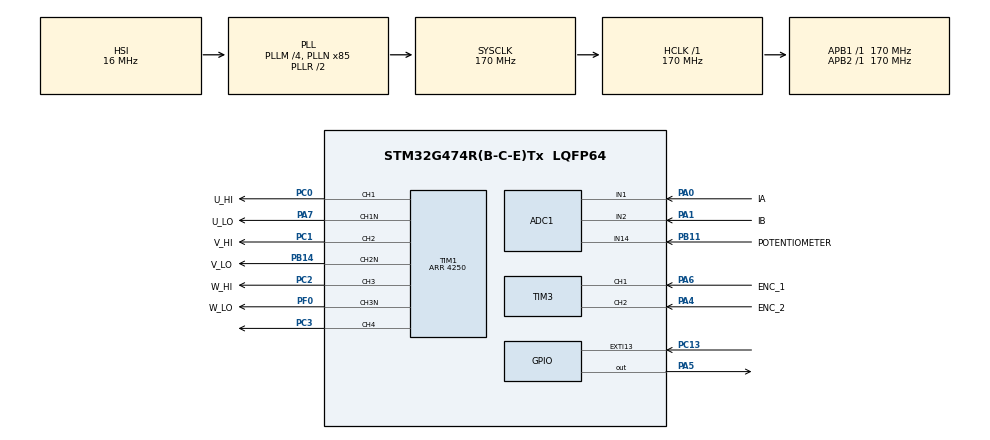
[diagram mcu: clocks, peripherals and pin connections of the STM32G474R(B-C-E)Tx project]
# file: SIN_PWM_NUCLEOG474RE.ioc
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ADC1.Channel-0\#ChannelRegularConversion=ADC_CHANNEL_1
ADC1.Channel-1\#ChannelRegularConversion=ADC_CHANNEL_2
ADC1.Channel-2\#ChannelRegularConversion=ADC_CHANNEL_14
ADC1.ContinuousConvMode=DISABLE
ADC1.DMAContinuousRequests=ENABLE
ADC1.EOCSelection=ADC_EOC_SEQ_CONV
ADC1.ExternalTrigConv=ADC_EXTERNALTRIG_T1_TRGO
ADC1.NbrOfConversion=3
ADC1.NbrOfConversionFlag=1
ADC1.OffsetNumber-0\#ChannelRegularConversion=ADC_OFFSET_NONE
ADC1.OffsetNumber-1\#ChannelRegularConversion=ADC_OFFSET_NONE
ADC1.OffsetNumber-2\#ChannelRegularConversion=ADC_OFFSET_NONE
ADC1.Rank-0\#ChannelRegularConversion=1
ADC1.Rank-1\#ChannelRegularConversion=2
ADC1.Rank-2\#ChannelRegularConversion=3
ADC1.SamplingTime-0\#ChannelRegularConversion=ADC_SAMPLETIME_47CYCLES_5
ADC1.SamplingTime-1\#ChannelRegularConversion=ADC_SAMPLETIME_47CYCLES_5
ADC1.SamplingTime-2\#ChannelRegularConversion=ADC_SAMPLETIME_247CYCLES_5
ADC1.master=1
Dma.ADC1.0.Direction=DMA_PERIPH_TO_MEMORY
Dma.ADC1.0.EventEnable=DISABLE
Dma.ADC1.0.Instance=DMA1_Channel1
Dma.ADC1.0.MemDataAlignment=DMA_MDATAALIGN_HALFWORD
Dma.ADC1.0.MemInc=DMA_MINC_ENABLE
Dma.ADC1.0.Mode=DMA_CIRCULAR
Dma.ADC1.0.PeriphDataAlignment=DMA_PDATAALIGN_HALFWORD
Dma.ADC1.0.PeriphInc=DMA_PINC_DISABLE
Dma.ADC1.0.Polarity=HAL_DMAMUX_REQ_GEN_RISING
Dma.ADC1.0.Priority=DMA_PRIORITY_LOW
Dma.ADC1.0.RequestNumber=1
Dma.ADC1.0.SignalID=NONE
Dma.ADC1.0.SyncEnable=DISABLE
Dma.ADC1.0.SyncPolarity=HAL_DMAMUX_SYNC_NO_EVENT
Dma.ADC1.0.SyncRequestNumber=1
Dma.ADC1.0.SyncSignalID=NONE
Dma.Request0=ADC1
FREERTOS.BinarySemaphores01=FOCsem,Dynamic,NULL,Available
FREERTOS.Tasks01=ReadPotent,24,128,StartPotent,Default,NULL,Dynamic,NULL,NULL;FOC,40,400,StartFOC,Default,NULL,Dynamic,NULL,NULL
FREERTOS.configUSE_NEWLIB_REENTRANT=1
Mcu.Family=STM32G4
Mcu.Name=STM32G474R(B-C-E)Tx
Mcu.Package=LQFP64
NUCLEO-G474RE.BUTTON=1
NUCLEO-G474RE.LD2=true
NUCLEO-G474RE.VCP=true
NVIC.ADC1_2_IRQn=true\:5\:0\:false\:false\:true\:true\:true\:true\:true
NVIC.DMA1_Channel1_IRQn=true\:5\:0\:false\:false\:true\:true\:false\:true\:true
NVIC.EXTI15_10_IRQn=true\:5\:0\:false\:false\:true\:true\:true\:true\:true
NVIC.PriorityGroup=NVIC_PRIORITYGROUP_4
NVIC.TIM1_UP_TIM16_IRQn=true\:5\:0\:false\:false\:true\:true\:true\:true\:true
NVIC.TIM2_IRQn=true\:15\:0\:false\:false\:true\:false\:false\:true\:true
NVIC.TimeBase=TIM2_IRQn
NVIC.TimeBaseIP=TIM2
PA0.GPIO_Label=IA
PA0.Signal=SharedAnalog_PA0
PA1.GPIO_Label=IB
PA1.Signal=SharedAnalog_PA1
PA13.GPIO_Label=T_SWDIO
PA13.Signal=SYS_JTMS-SWDIO
PA14.GPIO_Label=T_SWCLK
PA14.Signal=SYS_JTCK-SWCLK
PA2.Signal=LPUART1_TX
PA3.Signal=LPUART1_RX
PA4.GPIO_Label=ENC_2
PA4.Signal=S_TIM3_CH2
PA5.Signal=GPIO_Output
PA6.GPIO_Label=ENC_1
PA6.Signal=S_TIM3_CH1
PA7.GPIO_Label=U_LO
PA7.Mode=PWM Generation1 CH1 CH1N
PA7.Signal=TIM1_CH1N
PB11.GPIO_Label=POTENTIOMETER
PB11.Signal=SharedAnalog_PB11
PB14.GPIO_Label=V_LO
PB14.Mode=PWM Generation2 CH2 CH2N
PB14.Signal=TIM1_CH2N
PB3.GPIO_Label=T_SWO
PB3.Signal=SYS_JTDO-SWO
PC0.GPIO_Label=U_HI
PC0.Signal=S_TIM1_CH1
PC1.GPIO_Label=V_HI
PC1.Signal=S_TIM1_CH2
PC13.Signal=GPXTI13
PC2.GPIO_Label=W_HI
PC2.Signal=S_TIM1_CH3
PC3.Signal=S_TIM1_CH4
PF0-OSC_IN.GPIO_Label=W_LO
PF0-OSC_IN.Mode=PWM Generation3 CH3 CH3N
PF0-OSC_IN.Signal=TIM1_CH3N
ProjectManager.HeapSize=0x200
ProjectManager.StackSize=0x400
ProjectManager.TargetToolchain=STM32CubeIDE
RCC.ADC12Freq_Value=170000000
RCC.ADC345Freq_Value=170000000
RCC.AHBFreq_Value=170000000
RCC.APB1Freq_Value=170000000
RCC.APB1TimFreq_Value=170000000
RCC.APB2Freq_Value=170000000
RCC.APB2TimFreq_Value=170000000
RCC.CortexFreq_Value=170000000
RCC.EXTERNAL_CLOCK_VALUE=12288000
RCC.HCLKFreq_Value=170000000
RCC.HSE_VALUE=24000000
RCC.HSI48_VALUE=48000000
RCC.HSI_VALUE=16000000
RCC.LSE_VALUE=32768
RCC.PLLM=RCC_PLLM_DIV4
RCC.PLLN=85
RCC.RTCClockSelection=RCC_RTCCLKSOURCE_LSE
RCC.SYSCLKFreq_VALUE=170000000
RCC.SYSCLKSource=RCC_SYSCLKSOURCE_PLLCLK
RCC.USBFreq_Value=170000000
RCC.VCOOutputFreq_Value=340000000
SH.S_TIM1_CH1.0=TIM1_CH1,PWM Generation1 CH1 CH1N
SH.S_TIM1_CH2.0=TIM1_CH2,PWM Generation2 CH2 CH2N
SH.S_TIM1_CH3.0=TIM1_CH3,PWM Generation3 CH3 CH3N
SH.S_TIM1_CH4.0=TIM1_CH4,Output Compare4 CH4
SH.S_TIM3_CH1.0=TIM3_CH1,Encoder_Interface
SH.S_TIM3_CH2.0=TIM3_CH2,Encoder_Interface
SH.SharedAnalog_PA0.0=GPIO_Analog
SH.SharedAnalog_PA0.1=ADC1_IN1,IN1-Single-Ended
SH.SharedAnalog_PA1.0=GPIO_Analog
SH.SharedAnalog_PA1.1=ADC1_IN2,IN2-Single-Ended
SH.SharedAnalog_PB11.0=GPIO_Analog
SH.SharedAnalog_PB11.1=ADC1_IN14,IN14-Single-Ended
TIM1.AutoReloadPreload=TIM_AUTORELOAD_PRELOAD_ENABLE
TIM1.AutomaticOutput=TIM_AUTOMATICOUTPUT_ENABLE
TIM1.Channel-Output\ Compare4\ CH4=TIM_CHANNEL_4
TIM1.Channel-PWM\ Generation1\ CH1\ CH1N=TIM_CHANNEL_1
TIM1.Channel-PWM\ Generation2\ CH2\ CH2N=TIM_CHANNEL_2
TIM1.Channel-PWM\ Generation3\ CH3\ CH3N=TIM_CHANNEL_3
TIM1.CounterMode=TIM_COUNTERMODE_CENTERALIGNED1
TIM1.DeadTime=54
TIM1.OC4Preload=DISABLE
TIM1.PeriodNoDither=4250
TIM1.PulseNoDither_4=0
TIM1.TIM_MasterOutputTrigger=TIM_TRGO_UPDATE
TIM1.TIM_MasterOutputTrigger2=TIM_TRGO2_OC4REF
TIM1.TIM_MasterSlaveMode=TIM_MASTERSLAVEMODE_DISABLE
VP_FREERTOS_VS_CMSIS_V2.Mode=CMSIS_V2
VP_NUCLEO-G474RE_VS_BSP_COMMON.Mode=COMMON
VP_SYS_VS_DBSignals.Mode=DisableDeadBatterySignals
VP_SYS_VS_tim2.Mode=TIM2
board=NUCLEO-G474RE

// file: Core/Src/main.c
/* USER CODE BEGIN Header */
/**
  ******************************************************************************
  * @file           : main.c
  * @brief          : Main program body
  ******************************************************************************
  * @attention
  *
  * Copyright (c) 2025 STMicroelectronics.
  * All rights reserved.
  *
  * This software is licensed under terms that can be found in the LICENSE file
  * in the root directory of this software component.
  * If no LICENSE file comes with this software, it is provided AS-IS.
  *
  ******************************************************************************
  */
/* USER CODE END Header */
#include "main.h"
#include "cmsis_os.h"

/* USER CODE BEGIN Includes */
#include <math.h>
#include <arm_math.h>
#include "FOC_MATH.h"
#include "semphr.h"
#include "PI_CONTROLLER.h"
#include "ACIM.h"
/* USER CODE END Includes */

/* USER CODE BEGIN PD */
#define vbus 200.0f // test
#define PWM_PERIOD 4250
#define TEST_FREQ 30.0f
#define ADC_MAX     4095.0f
#define VREF        3.3f
#define SENSOR_SENSITIVITY 0.1f
#define DESIRED_RPM_MAX 1725.0f
#define ENC_PPR             1000
#define COUNTS_PER_REV      (ENC_PPR * 4)
#define MOTOR_POLE_PAIRS 2
/* USER CODE END PD */

COM_InitTypeDef BspCOMInit;
ADC_HandleTypeDef hadc1;
DMA_HandleTypeDef hdma_adc1;

TIM_HandleTypeDef htim1;
TIM_HandleTypeDef htim3;

/* Definitions for ReadPotent */
osThreadId_t ReadPotentHandle;
const osThreadAttr_t ReadPotent_attributes = {
  .name = "ReadPotent",
  .priority = (osPriority_t) osPriorityNormal,
  .stack_size = 128 * 4
};
/* Definitions for FOC */
osThreadId_t FOCHandle;
const osThreadAttr_t FOC_attributes = {
  .name = "FOC",
  .priority = (osPriority_t) osPriorityHigh,
  .stack_size = 400 * 4
};
/* Definitions for FOCsem */
osSemaphoreId_t FOCsemHandle;
const osSemaphoreAttr_t FOCsem_attributes = {
  .name = "FOCsem"
};
/* USER CODE BEGIN PV */

// sensor inputs
uint32_t adcValues[3];  // Holds ADC results for 3 channels
static uint32_t adc_local_copy[3] = {0};
float voltageA = 0.0f;
float voltageB = 0.0f;
float currentA = 0.0f;
float currentB = 0.0f;
volatile uint32_t potentiometerValue = 0;

// pi control variables
float Kp_Id = 0.1f;
float Ki_Id = 1.0f;
float Kp_Iq = 0.1f;
float Ki_Iq = 1.0f;
float Kp_Speed = 0.05f;
float Ki_Speed = 0.5f;

// FOC variables
volatile float ia = 0.0f, ib = 0.0f;
volatile float valpha = 0.0f, vbeta = 0.0f;
volatile uint32_t pwm_u = 0, pwm_v = 0, pwm_w = 0;
typedef enum { INIT, MOTOR_FOC } motor_state_t;
volatile  motor_state_t MOTOR_STATE = INIT;

// encoder values
volatile float desiredRPM = 0.0f;
float theta = 0.0f;
int encoder_ready = 0;
volatile int32_t last_count = 0;
volatile float mech_rps = 0.0f;
volatile float RotorAngle = 0.0f;
float mech_angle_Radian = 0.0f;
int32_t delta = 0;
int Rotor_direction = 0;
volatile int32_t curr_count = 0;

int test_task = 0;

ACIM_Params_t params = {
	.P = 2,
	.Lm = 0.413f,
	.Lr = 111.65f,
	.psi_r_ref = 0.8f
};
/* USER CODE END PV */

void SystemClock_Config(void);
static void MX_GPIO_Init(void);
static void MX_DMA_Init(void);
static void MX_TIM1_Init(void);
static void MX_ADC1_Init(void);
static void MX_TIM3_Init(void);
void StartPotent(void *argument);
void StartFOC(void *argument);

int main(void)
{

  /* MCU Configuration--------------------------------------------------------*/

  /* Reset of all peripherals, Initializes the Flash interface and the Systick. */
  HAL_Init();

  /* Configure the system clock */
  SystemClock_Config();

  /* Initialize all configured peripherals */
  MX_GPIO_Init();
  MX_DMA_Init();
  MX_TIM1_Init();
  MX_ADC1_Init();
  MX_TIM3_Init();
  /* USER CODE BEGIN 2 */
  pi_controller_init(Kp_Id, Ki_Id,Kp_Iq,Ki_Iq, Kp_Speed, Ki_Speed);
  ACIM_Init(&params);

  HAL_TIM_Base_Start_IT(&htim1);
  HAL_ADC_Start_DMA(&hadc1, (uint32_t*)adcValues, 3);

  HAL_TIM_PWM_Start(&htim1, TIM_CHANNEL_1);
  HAL_TIM_PWM_Start(&htim1, TIM_CHANNEL_2);
  HAL_TIM_PWM_Start(&htim1, TIM_CHANNEL_3);

  HAL_TIMEx_PWMN_Start(&htim1, TIM_CHANNEL_1);
  HAL_TIMEx_PWMN_Start(&htim1, TIM_CHANNEL_2);
  HAL_TIMEx_PWMN_Start(&htim1, TIM_CHANNEL_3);

  HAL_TIM_Encoder_Start(&htim3, TIM_CHANNEL_ALL);
  /* USER CODE END 2 */

  /* Init scheduler */
  osKernelInitialize();

  /* Create the semaphores(s) */
  /* creation of FOCsem */
  FOCsemHandle = osSemaphoreNew(1, 1, &FOCsem_attributes);

  /* Create the thread(s) */
  /* creation of ReadPotent */
  ReadPotentHandle = osThreadNew(StartPotent, NULL, &ReadPotent_attributes);

  /* creation of FOC */
  FOCHandle = osThreadNew(StartFOC, NULL, &FOC_attributes);

  /* Initialize led */
  BSP_LED_Init(LED_GREEN);

  /* Initialize USER push-button, will be used to trigger an interrupt each time it's pressed.*/
  BSP_PB_Init(BUTTON_USER, BUTTON_MODE_EXTI);

  /* Initialize COM1 port (115200, 8 bits (7-bit data + 1 stop bit), no parity */
  BspCOMInit.BaudRate   = 115200;
  BspCOMInit.WordLength = COM_WORDLENGTH_8B;
  BspCOMInit.StopBits   = COM_STOPBITS_1;
  BspCOMInit.Parity     = COM_PARITY_NONE;
  BspCOMInit.HwFlowCtl  = COM_HWCONTROL_NONE;
  if (BSP_COM_Init(COM1, &BspCOMInit) != BSP_ERROR_NONE)
  {
    Error_Handler();
  }

  /* Start scheduler */
  osKernelStart();

  /* We should never get here as control is now taken by the scheduler */

  /* Infinite loop */
  while (1)
  {

  }
}

void SystemClock_Config(void)
{
  RCC_OscInitTypeDef RCC_OscInitStruct = {0};
  RCC_ClkInitTypeDef RCC_ClkInitStruct = {0};

  /** Configure the main internal regulator output voltage
  */
  HAL_PWREx_ControlVoltageScaling(PWR_REGULATOR_VOLTAGE_SCALE1_BOOST);

  /** Initializes the RCC Oscillators according to the specified parameters
  * in the RCC_OscInitTypeDef structure.
  */
  RCC_OscInitStruct.OscillatorType = RCC_OSCILLATORTYPE_HSI;
  RCC_OscInitStruct.HSIState = RCC_HSI_ON;
  RCC_OscInitStruct.HSICalibrationValue = RCC_HSICALIBRATION_DEFAULT;
  RCC_OscInitStruct.PLL.PLLState = RCC_PLL_ON;
  RCC_OscInitStruct.PLL.PLLSource = RCC_PLLSOURCE_HSI;
  RCC_OscInitStruct.PLL.PLLM = RCC_PLLM_DIV4;
  RCC_OscInitStruct.PLL.PLLN = 85;
  RCC_OscInitStruct.PLL.PLLP = RCC_PLLP_DIV2;
  RCC_OscInitStruct.PLL.PLLQ = RCC_PLLQ_DIV2;
  RCC_OscInitStruct.PLL.PLLR = RCC_PLLR_DIV2;
  if (HAL_RCC_OscConfig(&RCC_OscInitStruct) != HAL_OK)
  {
    Error_Handler();
  }

  /** Initializes the CPU, AHB and APB buses clocks
  */
  RCC_ClkInitStruct.ClockType = RCC_CLOCKTYPE_HCLK|RCC_CLOCKTYPE_SYSCLK
                              |RCC_CLOCKTYPE_PCLK1|RCC_CLOCKTYPE_PCLK2;
  RCC_ClkInitStruct.SYSCLKSource = RCC_SYSCLKSOURCE_PLLCLK;
  RCC_ClkInitStruct.AHBCLKDivider = RCC_SYSCLK_DIV1;
  RCC_ClkInitStruct.APB1CLKDivider = RCC_HCLK_DIV1;
  RCC_ClkInitStruct.APB2CLKDivider = RCC_HCLK_DIV1;

  if (HAL_RCC_ClockConfig(&RCC_ClkInitStruct, FLASH_LATENCY_4) != HAL_OK)
  {
    Error_Handler();
  }
}

static void MX_ADC1_Init(void)
{

  ADC_MultiModeTypeDef multimode = {0};
  ADC_ChannelConfTypeDef sConfig = {0};

  /** Common config
  */
  hadc1.Instance = ADC1;
  hadc1.Init.ClockPrescaler = ADC_CLOCK_SYNC_PCLK_DIV4;
  hadc1.Init.Resolution = ADC_RESOLUTION_12B;
  hadc1.Init.DataAlign = ADC_DATAALIGN_RIGHT;
  hadc1.Init.GainCompensation = 0;
  hadc1.Init.ScanConvMode = ADC_SCAN_ENABLE;
  hadc1.Init.EOCSelection = ADC_EOC_SEQ_CONV;
  hadc1.Init.LowPowerAutoWait = DISABLE;
  hadc1.Init.ContinuousConvMode = DISABLE;
  hadc1.Init.NbrOfConversion = 3;
  hadc1.Init.DiscontinuousConvMode = DISABLE;
  hadc1.Init.ExternalTrigConv = ADC_EXTERNALTRIG_T1_TRGO;
  hadc1.Init.ExternalTrigConvEdge = ADC_EXTERNALTRIGCONVEDGE_RISING;
  hadc1.Init.DMAContinuousRequests = ENABLE;
  hadc1.Init.Overrun = ADC_OVR_DATA_PRESERVED;
  hadc1.Init.OversamplingMode = DISABLE;
  if (HAL_ADC_Init(&hadc1) != HAL_OK)
  {
    Error_Handler();
  }

  /** Configure the ADC multi-mode
  */
  multimode.Mode = ADC_MODE_INDEPENDENT;
  if (HAL_ADCEx_MultiModeConfigChannel(&hadc1, &multimode) != HAL_OK)
  {
    Error_Handler();
  }

  /** Configure Regular Channel
  */
  sConfig.Channel = ADC_CHANNEL_1;
  sConfig.Rank = ADC_REGULAR_RANK_1;
  sConfig.SamplingTime = ADC_SAMPLETIME_47CYCLES_5;
  sConfig.SingleDiff = ADC_SINGLE_ENDED;
  sConfig.OffsetNumber = ADC_OFFSET_NONE;
  sConfig.Offset = 0;
  if (HAL_ADC_ConfigChannel(&hadc1, &sConfig) != HAL_OK)
  {
    Error_Handler();
  }

  /** Configure Regular Channel
  */
  sConfig.Channel = ADC_CHANNEL_2;
  sConfig.Rank = ADC_REGULAR_RANK_2;
  if (HAL_ADC_ConfigChannel(&hadc1, &sConfig) != HAL_OK)
  {
    Error_Handler();
  }

  /** Configure Regular Channel
  */
  sConfig.Channel = ADC_CHANNEL_14;
  sConfig.Rank = ADC_REGULAR_RANK_3;
  sConfig.SamplingTime = ADC_SAMPLETIME_247CYCLES_5;
  if (HAL_ADC_ConfigChannel(&hadc1, &sConfig) != HAL_OK)
  {
    Error_Handler();
  }

}

static void MX_TIM1_Init(void)
{

  TIM_MasterConfigTypeDef sMasterConfig = {0};
  TIM_OC_InitTypeDef sConfigOC = {0};
  TIM_BreakDeadTimeConfigTypeDef sBreakDeadTimeConfig = {0};

  htim1.Instance = TIM1;
  htim1.Init.Prescaler = 0;
  htim1.Init.CounterMode = TIM_COUNTERMODE_CENTERALIGNED1;
  htim1.Init.Period = 4250;
  htim1.Init.ClockDivision = TIM_CLOCKDIVISION_DIV1;
  htim1.Init.RepetitionCounter = 0;
  htim1.Init.AutoReloadPreload = TIM_AUTORELOAD_PRELOAD_ENABLE;
  if (HAL_TIM_PWM_Init(&htim1) != HAL_OK)
  {
    Error_Handler();
  }
  if (HAL_TIM_OC_Init(&htim1) != HAL_OK)
  {
    Error_Handler();
  }
  sMasterConfig.MasterOutputTrigger = TIM_TRGO_UPDATE;
  sMasterConfig.MasterOutputTrigger2 = TIM_TRGO2_OC4REF;
  sMasterConfig.MasterSlaveMode = TIM_MASTERSLAVEMODE_DISABLE;
  if (HAL_TIMEx_MasterConfigSynchronization(&htim1, &sMasterConfig) != HAL_OK)
  {
    Error_Handler();
  }
  sConfigOC.OCMode = TIM_OCMODE_PWM1;
  sConfigOC.Pulse = 0;
  sConfigOC.OCPolarity = TIM_OCPOLARITY_HIGH;
  sConfigOC.OCNPolarity = TIM_OCNPOLARITY_HIGH;
  sConfigOC.OCFastMode = TIM_OCFAST_DISABLE;
  sConfigOC.OCIdleState = TIM_OCIDLESTATE_RESET;
  sConfigOC.OCNIdleState = TIM_OCNIDLESTATE_RESET;
  if (HAL_TIM_PWM_ConfigChannel(&htim1, &sConfigOC, TIM_CHANNEL_1) != HAL_OK)
  {
    Error_Handler();
  }
  if (HAL_TIM_PWM_ConfigChannel(&htim1, &sConfigOC, TIM_CHANNEL_2) != HAL_OK)
  {
    Error_Handler();
  }
  if (HAL_TIM_PWM_ConfigChannel(&htim1, &sConfigOC, TIM_CHANNEL_3) != HAL_OK)
  {
    Error_Handler();
  }
  sConfigOC.OCMode = TIM_OCMODE_TIMING;
  if (HAL_TIM_OC_ConfigChannel(&htim1, &sConfigOC, TIM_CHANNEL_4) != HAL_OK)
  {
    Error_Handler();
  }
  sBreakDeadTimeConfig.OffStateRunMode = TIM_OSSR_DISABLE;
  sBreakDeadTimeConfig.OffStateIDLEMode = TIM_OSSI_DISABLE;
  sBreakDeadTimeConfig.LockLevel = TIM_LOCKLEVEL_OFF;
  sBreakDeadTimeConfig.DeadTime = 54;
  sBreakDeadTimeConfig.BreakState = TIM_BREAK_DISABLE;
  sBreakDeadTimeConfig.BreakPolarity = TIM_BREAKPOLARITY_HIGH;
  sBreakDeadTimeConfig.BreakFilter = 0;
  sBreakDeadTimeConfig.BreakAFMode = TIM_BREAK_AFMODE_INPUT;
  sBreakDeadTimeConfig.Break2State = TIM_BREAK2_DISABLE;
  sBreakDeadTimeConfig.Break2Polarity = TIM_BREAK2POLARITY_HIGH;
  sBreakDeadTimeConfig.Break2Filter = 0;
  sBreakDeadTimeConfig.Break2AFMode = TIM_BREAK_AFMODE_INPUT;
  sBreakDeadTimeConfig.AutomaticOutput = TIM_AUTOMATICOUTPUT_ENABLE;
  if (HAL_TIMEx_ConfigBreakDeadTime(&htim1, &sBreakDeadTimeConfig) != HAL_OK)
  {
    Error_Handler();
  }
  HAL_TIM_MspPostInit(&htim1);

}

static void MX_TIM3_Init(void)
{

  TIM_Encoder_InitTypeDef sConfig = {0};
  TIM_MasterConfigTypeDef sMasterConfig = {0};

  htim3.Instance = TIM3;
  htim3.Init.Prescaler = 0;
  htim3.Init.CounterMode = TIM_COUNTERMODE_UP;
  htim3.Init.Period = 65535;
  htim3.Init.ClockDivision = TIM_CLOCKDIVISION_DIV1;
  htim3.Init.AutoReloadPreload = TIM_AUTORELOAD_PRELOAD_DISABLE;
  sConfig.EncoderMode = TIM_ENCODERMODE_TI1;
  sConfig.IC1Polarity = TIM_ICPOLARITY_RISING;
  sConfig.IC1Selection = TIM_ICSELECTION_DIRECTTI;
  sConfig.IC1Prescaler = TIM_ICPSC_DIV1;
  sConfig.IC1Filter = 0;
  sConfig.IC2Polarity = TIM_ICPOLARITY_RISING;
  sConfig.IC2Selection = TIM_ICSELECTION_DIRECTTI;
  sConfig.IC2Prescaler = TIM_ICPSC_DIV1;
  sConfig.IC2Filter = 0;
  if (HAL_TIM_Encoder_Init(&htim3, &sConfig) != HAL_OK)
  {
    Error_Handler();
  }
  sMasterConfig.MasterOutputTrigger = TIM_TRGO_RESET;
  sMasterConfig.MasterSlaveMode = TIM_MASTERSLAVEMODE_DISABLE;
  if (HAL_TIMEx_MasterConfigSynchronization(&htim3, &sMasterConfig) != HAL_OK)
  {
    Error_Handler();
  }

}

static void MX_DMA_Init(void)
{

  /* DMA controller clock enable */
  __HAL_RCC_DMAMUX1_CLK_ENABLE();
  __HAL_RCC_DMA1_CLK_ENABLE();

  /* DMA interrupt init */
  /* DMA1_Channel1_IRQn interrupt configuration */
  HAL_NVIC_SetPriority(DMA1_Channel1_IRQn, 5, 0);
  HAL_NVIC_EnableIRQ(DMA1_Channel1_IRQn);

}

static void MX_GPIO_Init(void)
{

  /* GPIO Ports Clock Enable */
  __HAL_RCC_GPIOF_CLK_ENABLE();
  __HAL_RCC_GPIOC_CLK_ENABLE();
  __HAL_RCC_GPIOA_CLK_ENABLE();
  __HAL_RCC_GPIOB_CLK_ENABLE();

}

void StartPotent(void *argument)
{
  /* USER CODE BEGIN 5 */
  /* Infinite loop */
  for(;;)
  {
    // sample potentiometer every 5 ms
	test_task = test_task + 1;
    osDelay(5);
  }
  /* USER CODE END 5 */
}

void StartFOC(void *argument)
{
  /* USER CODE BEGIN StartFOC */
	float w_ref = 0.0f;
	float torque_ref = 0.0f;
	int32_t Previous_Theta = 0;
  /* Infinite loop */
  for(;;)
  {
	if (osSemaphoreAcquire( FOCsemHandle, osWaitForever) == osOK ){
		__disable_irq();
		adc_local_copy[0] = adcValues[0];
		adc_local_copy[1] = adcValues[1];
		adc_local_copy[2] = adcValues[2];
		__enable_irq();

		potentiometerValue = adc_local_copy[2];
		desiredRPM = (potentiometerValue * DESIRED_RPM_MAX)/ADC_MAX;

		float Id_measured, Iq_measured;
		float Id_ref, Iq_ref;
		float vd, vq;
		float sin_theta, cos_theta;

		/* Read encoder count */
		curr_count = __HAL_TIM_GET_COUNTER(&htim3);

		/* Calculate delta taking rollover into account */
		delta = curr_count - last_count;
		if (delta != 0){
			encoder_ready= 1;
		}

		/* Handle rollover of 16-bit timer */
		if(delta > 32767)      delta -= 65536;
		else if(delta < -32768) delta += 65536;

		/* Save new count for next calculation */
		last_count = curr_count;

		/* Mechanical Speed (RPM) Delta is the pulses in the most recent rotation divided by the pulses per rotation and time.
		* set to 1 second so that I can see it change*/
		mech_rps = (float)delta  / (COUNTS_PER_REV * .010f);

		/* Mechanical angle (0 → 2π) */
		int32_t pos = curr_count % COUNTS_PER_REV;
		if(pos < 0) pos += COUNTS_PER_REV;

		mech_angle_Radian = ( (float)pos * 2.0f * M_PI) / COUNTS_PER_REV;

		/* Electrical angle */
		Previous_Theta = RotorAngle;
		RotorAngle = (mech_angle_Radian * MOTOR_POLE_PAIRS);
		if(Previous_Theta < RotorAngle){
		  Rotor_direction = 1;
		}
		else{
		  Rotor_direction = 0;
		}

		switch (MOTOR_STATE){
			case INIT:
			// initial
				valpha = 0.7f *  vbus * arm_cos_f32(theta);
				vbeta = 0.7f * vbus * arm_sin_f32(theta);
				svpwm(valpha,vbeta, vbus, PWM_PERIOD, &pwm_u, &pwm_v, &pwm_w);

				TIM1->CCR1 = pwm_u;
				TIM1->CCR2 = pwm_v;
				TIM1->CCR3 = pwm_w;
				TIM1->CCR4 = TIM1->ARR;

				theta += 2.0f * M_PI * TEST_FREQ * 0.00005f;
				norm_angle_rad(&theta);

//				if (encoder_ready) {
//					MOTOR_STATE = MOTOR_FOC;
//				}

				break;
			case MOTOR_FOC:
			// control once encoder feedback
				norm_angle_rad(&RotorAngle);

				cos_theta = fast_cos(RotorAngle);
				sin_theta = fast_sin(RotorAngle);

				ia = (((float)adc_local_copy[0] * VREF / ADC_MAX) - 1.65f) / SENSOR_SENSITIVITY;
				ib = (((float)adc_local_copy[1] *VREF / ADC_MAX) - 1.65f) / SENSOR_SENSITIVITY;
				clarke_park_transform(ia, ib, sin_theta, cos_theta, &Id_measured, &Iq_measured);

				w_ref = (mech_rps * MOTOR_POLE_PAIRS) / 2;
				torque_ref = pi_controller_speed(desiredRPM, mech_rps);
				ACIM_Compute(w_ref, torque_ref, &Id_ref, &Iq_ref);

				vd = pi_controller_Id(Id_ref, Id_measured);
				vq = pi_controller_Iq(Iq_ref, Iq_measured);
				inverse_park_transform(vd, vq, sin_theta, cos_theta, &valpha, &vbeta);
				svpwm(valpha,vbeta, vbus, PWM_PERIOD, &pwm_u, &pwm_v, &pwm_w);

				TIM1->CCR1 = pwm_u;
				TIM1->CCR2 = pwm_v;
				TIM1->CCR3 = pwm_w;
				TIM1->CCR4 = TIM1->ARR;

			break;
		}

	}
  }
  /* USER CODE END StartFOC */
}

void HAL_TIM_PeriodElapsedCallback(TIM_HandleTypeDef *htim)
{
  /* USER CODE BEGIN Callback 0 */
	if (htim->Instance == TIM1){
		osSemaphoreRelease(FOCsemHandle);
	}
  /* USER CODE END Callback 0 */
  if (htim->Instance == TIM2)
  {
    HAL_IncTick();
  }
}

void Error_Handler(void)
{
  __disable_irq();
  while (1)
  {
  }
}
